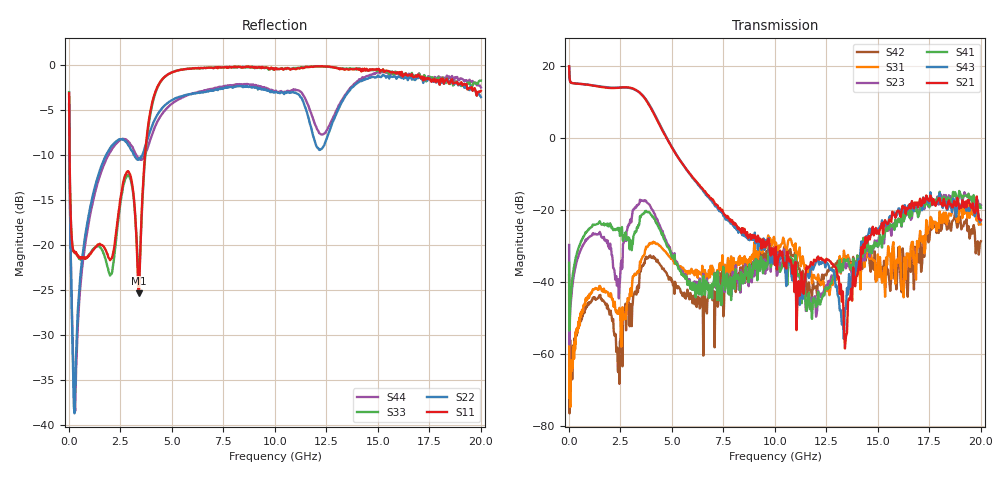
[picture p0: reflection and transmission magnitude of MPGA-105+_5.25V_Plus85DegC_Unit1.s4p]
!Mini-Circuits Laboratory
!S-Parameters
!Model: MPGA-105+
!Run / Lot / Date Code: NA / BP384P001-05 / 1348
!Fixture: NA; TB-561+
!AUTO PORT EXTENSION DONE: PORT<1>=113.35ps; PORT<2>=112.76ps; PORT<3>=112.16ps; PORT<4>=112.11ps
!Network Analyzer: PNA-X N5242A - 423 4 ports;  Serial number: 71256
!Date: 2/15/2014
!S/N: Unit# 1
!Correction: S11(Full 4 Port(1,2,3,4))
!S12(Full 4 Port(1,2,3,4))
!S13(Full 4 Port(1,2,3,4))
!S14(Full 4 Port(1,2,3,4))
!S21(Full 4 Port(1,2,3,4))
!S22(Full 4 Port(1,2,3,4))
!S23(Full 4 Port(1,2,3,4))
!S24(Full 4 Port(1,2,3,4))
!S31(Full 4 Port(1,2,3,4))
!S32(Full 4 Port(1,2,3,4))
!S33(Full 4 Port(1,2,3,4))
!S34(Full 4 Port(1,2,3,4))
!S41(Full 4 Port(1,2,3,4))
!S42(Full 4 Port(1,2,3,4))
!S43(Full 4 Port(1,2,3,4))
!S44(Full 4 Port(1,2,3,4))
!S4P File: Measurements: <S11,S12,S13,S14>,
!<S21,S22,S23,S24>,
!<S31,S32,S33,S34>,
!<S41,S42,S43,S44>:
# Hz S  dB  R 50
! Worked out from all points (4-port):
!   660 points, 10 MHz to 20 GHz, reference 50 ohm
!   strongest paths, dB at 10 MHz, 2.65 GHz, 6.775 GHz, 11.8 GHz, 20 GHz:
!     S21: 19.9, 14.1, -16.1, -35.0, -22.8
!     S43: 20.0, 14.1, -16.5, -35.8, -22.8
!     S41: -34.7, -27.7, -40.7, -50.2, -19.3
!     S23: -29.7, -29.2, -41.0, -47.7, -18.7
!     S31: -42.5, -49.2, -38.1, -40.4, -24.0
!     S42: -38.1, -49.3, -44.4, -44.2, -28.7
!   lowest |S11| = -25.4 dB at 3.4 GHz (marker M1), VSWR 1.11, Z = 44.9 - j0.394 ohm
!   |S11| at or under -10 dB: 32.86 MHz to 3.694 GHz (3.661 GHz wide, 196 % of centre)
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1e7  -3.13 -37.9  -23.17 43.5  -39.76 -171.1  -48.17 -177.6
     19.90 159.9  -4.41 -41.6  -29.71 -156.9  -38.47 -159.7
     -42.49 -71.5  -46.64 -62.2  -3.01 -38.5  -23.26 46.1
     -34.65 -73.2  -38.09 -62.9  19.96 160.8  -4.30 -42.3
1.3e9  -20.25 136.4  -20.45 -52.2  -43.55 82.6  -61.85 119.5
       14.45 93.6  -13.25 71.2  -26.73 -37.5  -43.75 69.8
       -41.66 62.6  -61.59 87.9  -20.21 139.5  -20.41 -53.3
       -24.08 -33.3  -44.97 54.6  14.52 92.9  -13.91 70.1
2.3e9  -18.52 -78.1  -23.35 -104.8  -42.22 70.4  -59.23 68.3
       13.91 30.7  -8.49 24.9  -38.36 -99.2  -44.50 30.2
       -48.46 20.7  -59.23 80.7  -19.28 -84.0  -23.26 -106.4
       -25.24 -108.6  -59.44 -49.5  13.98 28.3  -8.72 19.3
3.4e9  -25.41 -175.3  -22.09 -28.4  -41.52 -139.7  -51.51 -117.4
       12.76 -65.0  -10.51 -103.9  -18.39 -126.3  -35.54 -159.1
       -37.24 166.1  -60.26 -147.2  -23.90 176.8  -22.76 -31.1
       -24.25 -140.7  -41.62 -171.4  12.75 -67.1  -10.43 -98.2
4e9  -4.64 -175.6  -19.96 -96.8  -28.97 122.3  -43.68 128.5
     8.10 -122.6  -6.99 164.0  -19.52 133.5  -31.58 115.5
     -29.19 114.7  -45.92 118.7  -4.89 179.5  -20.01 -100.5
     -21.42 130.4  -33.25 122.6  8.32 -125.7  -7.97 163.6
5.175e9  -0.67 123.2  -25.79 -160.7  -34.82 35.7  -48.50 51.1
         -4.30 178.4  -3.69 109.7  -34.15 37.1  -40.29 55.8
         -34.70 35.2  -49.23 46.8  -0.65 116.5  -25.80 -167.8
         -34.92 31.9  -40.36 63.5  -4.21 171.7  -4.00 98.8
2e10  -2.86 80.8  -22.93 49.6  -23.96 141.1  -19.45 3.8
      -22.84 49.9  -3.55 72.5  -18.66 -0.3  -28.96 -159.7
      -24.01 143.1  -18.62 -0.3  -1.73 49.0  -22.70 68.6
      -19.35 5.0  -28.69 -161.3  -22.80 68.3  -2.48 56.6
